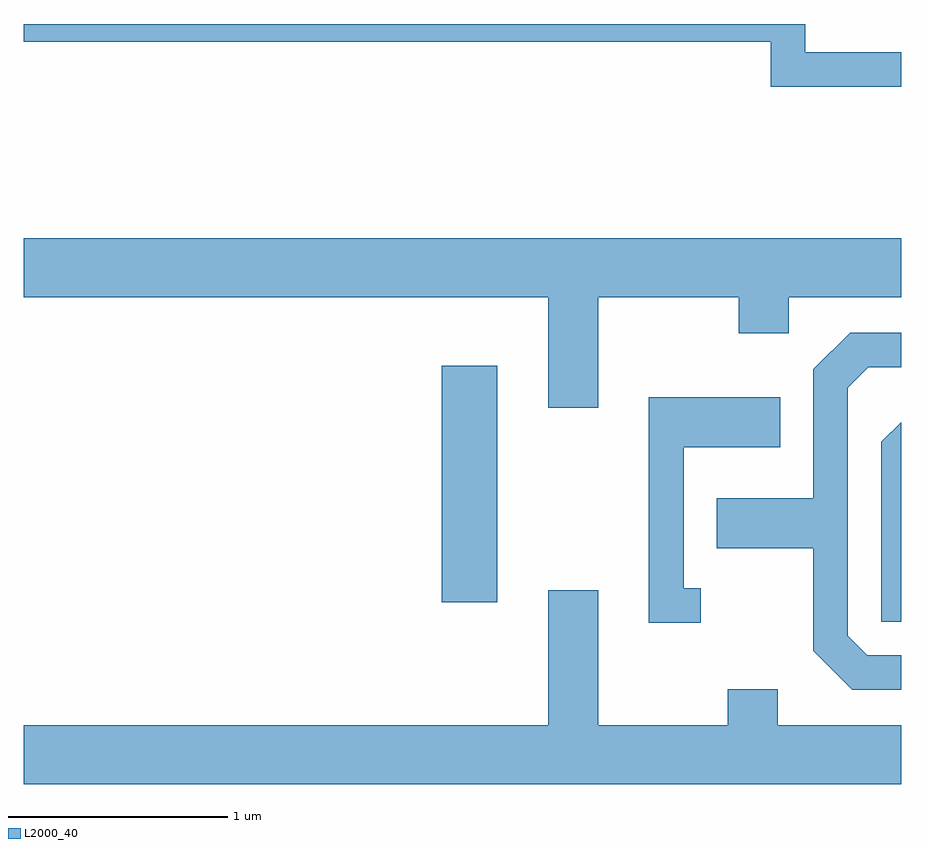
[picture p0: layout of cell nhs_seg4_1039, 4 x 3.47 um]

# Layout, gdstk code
import gdstk
lib = gdstk.Library(unit=1e-6, precision=1e-09)
def R(c, l, rs):  # rectangles x0, y0, x1, y1
    for r in rs: c.add(gdstk.rectangle(r[:2], r[2:], *l))
def P(c, l, *ps):  # polygons
    for p in ps: c.add(gdstk.Polygon(p, *l))
L2000_40 = (2000, 40)

nhs_seg4_1039 = lib.new_cell('nhs_seg4_1039')
R(nhs_seg4_1039, L2000_40, [(217.516,1293.346,217.769,1294.424)])
P(nhs_seg4_1039, L2000_40, [(219.611,1295.854),(219.174,1295.854),(219.174,1295.982),(215.611,1295.982),(215.611,1295.901),(219.016,1295.901),(219.016,1295.696),(219.611,1295.696)],
  [(218.229,1294.736),(218.871,1294.736),(218.871,1294.571),(219.099,1294.571),(219.099,1294.736),(219.611,1294.736),(219.611,1295.004),(215.611,1295.004),(215.611,1294.736),(218.001,1294.736),(218.001,1294.231),(218.229,1294.231)],
  [(219.611,1293.104),(219.457,1293.104),(219.369,1293.192),(219.369,1294.324),(219.462,1294.416),(219.611,1294.416),(219.611,1294.574),(219.379,1294.574),(219.211,1294.407),(219.211,1293.819),(218.771,1293.819),(218.771,1293.591),(219.211,1293.591),(219.211,1293.124),(219.389,1292.946),(219.611,1292.946)],
  [(218.698,1293.409),(218.619,1293.409),(218.619,1294.051),(219.059,1294.051),(219.059,1294.279),(218.461,1294.279),(218.461,1293.251),(218.698,1293.251)],
  [(219.611,1294.166),(219.521,1294.077),(219.521,1293.256),(219.611,1293.256)],
  [(219.611,1292.784),(219.049,1292.784),(219.049,1292.949),(218.821,1292.949),(218.821,1292.784),(218.229,1292.784),(218.229,1293.399),(218.001,1293.399),(218.001,1292.784),(215.611,1292.784),(215.611,1292.516),(219.611,1292.516)])

lib.write_gds('nhs_seg4_1039.gds')
